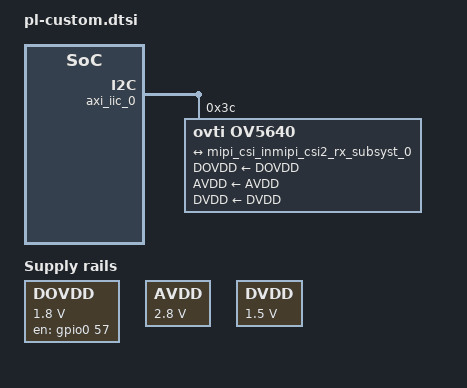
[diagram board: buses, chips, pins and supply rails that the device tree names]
#include <dt-bindings/gpio/gpio.h>
#include <dt-bindings/media/xilinx-vip.h>

&amba {
	pcam_clk: pcam_clk {
		compatible = "fixed-clock";
		#clock-cells = <0>;
		clock-frequency = <12000000>;
	};

        DOVDD: fixed_regulator_DOVDD@0 {
                compatible = "regulator-fixed";
                regulator-name = "DOVDD_reg";
                regulator-min-microvolt = <1800000>;
                regulator-max-microvolt = <1800000>;
                gpio = <&gpio0 57 GPIO_ACTIVE_HIGH>;
                startup-delay-us = <50000>;
                enable-active-high;
        };

        AVDD: fixed_regulator_AVDD@1 {
                compatible = "regulator-fixed";
                regulator-name = "AVDD_reg";
                regulator-min-microvolt = <2800000>;
                regulator-max-microvolt = <2800000>;

        };

        DVDD: fixed_regulator_DVDD@2 {
                compatible = "regulator-fixed";
                regulator-name = "DVDD_reg";
                regulator-min-microvolt = <1500000>;
                regulator-max-microvolt = <1500000>;
        };
};


&axi_iic_0 {
	ov5640: camera@3c {
		compatible = "ovti,ov5640";
		reg = <0x3c>;
		clock-names = "xclk";
		clocks = <&pcam_clk>;
                DOVDD-supply = <&DOVDD>; /* 1.8v */
                AVDD-supply = <&AVDD>;  /* 2.8v */
                DVDD-supply = <&DVDD>;  /* 1.5v */
		rotation = <180>;

		port {
			ov5640_out: endpoint {
				remote-endpoint = <&mipi_csi_inmipi_csi2_rx_subsyst_0>;
				data-lanes = <1 2>;
			};
		};
	};
};

&mipi_csi2_rx_subsyst_0 {
	video-reset-gpios = <&gpio0 54 GPIO_ACTIVE_LOW>;
	xlnx,csi-pxl-format = <0x1e>;
};

&mipi_csi_inmipi_csi2_rx_subsyst_0 {
	remote-endpoint = <&ov5640_out>;
};

&v_proc_ss_0 {
        compatible = "xlnx,v-vpss-csc";
	reset-gpios = <&gpio0 55 GPIO_ACTIVE_LOW>;
};

&csc_port0v_proc_ss_0 {
        xlnx,video-format = <XVIP_VF_YUV_422>;
};

&csc_port1v_proc_ss_0 {
        xlnx,video-format = <XVIP_VF_RBG>;
};

&v_frmbuf_wr_0 {
	reset-gpios = <&gpio0 56 GPIO_ACTIVE_LOW>;
};
